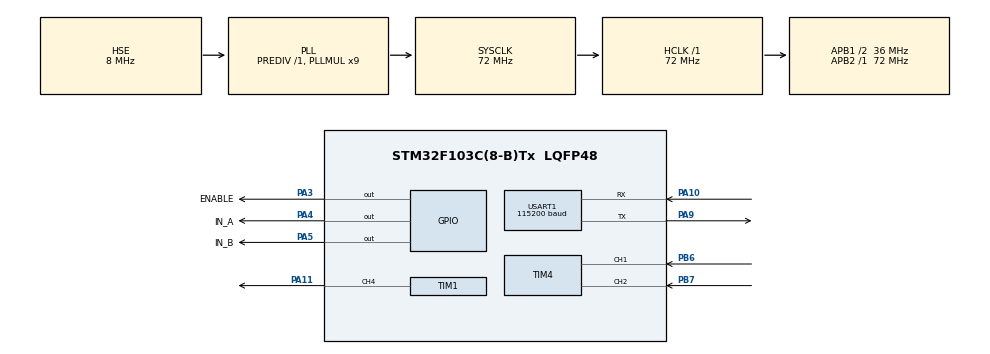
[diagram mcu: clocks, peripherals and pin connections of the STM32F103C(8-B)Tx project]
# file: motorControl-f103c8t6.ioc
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Mcu.Family=STM32F1
Mcu.Name=STM32F103C(8-B)Tx
Mcu.Package=LQFP48
NVIC.PriorityGroup=NVIC_PRIORITYGROUP_4
NVIC.TIM2_IRQn=true\:0\:0\:false\:false\:true\:true\:true\:true
PA10.Mode=Asynchronous
PA10.Signal=USART1_RX
PA11.Signal=S_TIM1_CH4
PA3.GPIO_Label=ENABLE
PA3.Signal=GPIO_Output
PA4.GPIO_Label=IN_A
PA4.Signal=GPIO_Output
PA5.GPIO_Label=IN_B
PA5.Signal=GPIO_Output
PA9.Mode=Asynchronous
PA9.Signal=USART1_TX
PB6.Signal=S_TIM4_CH1
PB7.Signal=S_TIM4_CH2
PD0-OSC_IN.Mode=HSE-External-Oscillator
PD0-OSC_IN.Signal=RCC_OSC_IN
PD1-OSC_OUT.Mode=HSE-External-Oscillator
PD1-OSC_OUT.Signal=RCC_OSC_OUT
ProjectManager.HeapSize=0x200
ProjectManager.StackSize=0x400
ProjectManager.TargetToolchain=STM32CubeIDE
RCC.AHBFreq_Value=72000000
RCC.APB1CLKDivider=RCC_HCLK_DIV2
RCC.APB1Freq_Value=36000000
RCC.APB1TimFreq_Value=72000000
RCC.APB2Freq_Value=72000000
RCC.APB2TimFreq_Value=72000000
RCC.HCLKFreq_Value=72000000
RCC.PLLMUL=RCC_PLL_MUL9
RCC.PLLSourceVirtual=RCC_PLLSOURCE_HSE
RCC.SYSCLKFreq_VALUE=72000000
RCC.SYSCLKSource=RCC_SYSCLKSOURCE_PLLCLK
RCC.USBFreq_Value=72000000
SH.S_TIM1_CH4.0=TIM1_CH4,PWM Generation4 CH4
SH.S_TIM4_CH1.0=TIM4_CH1,Encoder_Interface
SH.S_TIM4_CH2.0=TIM4_CH2,Encoder_Interface
TIM1.AutoReloadPreload=TIM_AUTORELOAD_PRELOAD_ENABLE
TIM1.Channel-PWM\ Generation4\ CH4=TIM_CHANNEL_4
TIM1.Period=699
TIM1.Prescaler=9
TIM2.AutoReloadPreload=TIM_AUTORELOAD_PRELOAD_ENABLE
TIM2.Period=720
TIM2.Prescaler=1000
USART1.BaudRate=115200
USART1.VirtualMode=VM_ASYNC
VP_TIM1_VS_ClockSourceINT.Mode=Internal
VP_TIM2_VS_ClockSourceINT.Mode=Internal
VP_TIM2_VS_ClockSourceITR.Mode=TriggerSource_ITR0
board=custom

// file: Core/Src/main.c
/* USER CODE BEGIN Header */
/**
  ******************************************************************************
  * @file           : main.c
  * @brief          : Main program body
  ******************************************************************************
  * @attention
  *
  * Copyright (c) 2023 STMicroelectronics.
  * All rights reserved.
  *
  * This software is licensed under terms that can be found in the LICENSE file
  * in the root directory of this software component.
  * If no LICENSE file comes with this software, it is provided AS-IS.
  *
  ******************************************************************************
  */
/* USER CODE END Header */
#include "main.h"

/* USER CODE BEGIN Includes */
#include <stdio.h>
#include "pwmPidControl.h"
/* USER CODE END Includes */

/* USER CODE BEGIN PD */
#define ONE_LAP 360 //360 degrees in one lap
#define PPR 1024 //encoder resolution in pulses per revolution
#define MOTOR_MAX_PULSES 70 //encoder pulses when motor @ 24V

#define MILISECONDS_TO_SECONDS 0.001 //conversion
#define RPM_TO_DEGREES_PER_SECOND 6 //conversion
#define HIGH_LEVEL_INPUT_TO_PWM_PERCENTAGE 1/127

//controller defines
#define MAX_PWM 100
#define MIN_PWM -100
#define KP 0.05
#define KI 10
#define KD 0

#define STEP_BUFFER_SIZE 10
#define TIMER_INIT_VALUE 30000 //this way, there is no need to deal with overflow

/* USER CODE END PD */

TIM_HandleTypeDef htim1;
TIM_HandleTypeDef htim2;
TIM_HandleTypeDef htim4;

UART_HandleTypeDef huart1;

/* USER CODE BEGIN PV */
int currentStep = 0; //stores encoder pulses
float speedInPulses = 0; //speed in pulses / s
float pastTime = 0; //time since application started TODO: remove!
uint32_t currentTick, lastTick = 0; //stores clock ticks

int stepBuffer[STEP_BUFFER_SIZE];
int i, j;
float auxSum = 0;

//CONTROL VARIABLES
Pid controller;
float duty = 0; //for floating point operations
float pulsesSetPoint = 0; //setPoint in pulses/s
/* USER CODE END PV */

void SystemClock_Config(void);
static void MX_GPIO_Init(void);
static void MX_TIM2_Init(void);
static void MX_USART1_UART_Init(void);
static void MX_TIM4_Init(void);
static void MX_TIM1_Init(void);
/* USER CODE BEGIN PFP */
//for data transmission using FTDI, requires USART 1 enabled
int _write(int fd, char* ptr, int len) {
    HAL_UART_Transmit(&huart1, (uint8_t *) ptr, len, HAL_MAX_DELAY);
    return len;
}

// driver logic config so motor goes clockwise
void motorClockWise();

// driver logic config so motor goes counter-clockwise
void motorAntiClockWise();

// driver logic config so motor stops
void motorStop();
/* USER CODE END PFP */

int main(void)
{

  /* MCU Configuration--------------------------------------------------------*/

  /* Reset of all peripherals, Initializes the Flash interface and the Systick. */
  HAL_Init();

  /* Configure the system clock */
  SystemClock_Config();

  /* Initialize all configured peripherals */
  MX_GPIO_Init();
  MX_TIM2_Init();
  MX_USART1_UART_Init();
  MX_TIM4_Init();
  MX_TIM1_Init();
  /* USER CODE BEGIN 2 */

  HAL_TIM_PWM_Start(&htim1, TIM_CHANNEL_4); //starts PWM timer
  HAL_TIM_Encoder_Start(&htim4, TIM_CHANNEL_ALL); //starts encoder timer

  pidInit(&controller, MIN_PWM, MAX_PWM, KP, KI, KD); //starts PID controller

  HAL_GPIO_WritePin(GPIOA, ENABLE_Pin, GPIO_PIN_SET); //enable ON (required)
  motorStop(); //motor initially stopped

  htim1.Instance->CCR4 = 0; //PWM timer inittialy 0
  TIM4->CNT = 0; //encoder timer inittialy 0

  for(i= 0; i< STEP_BUFFER_SIZE; i++) stepBuffer[i] = 0;
  i=0;

  TIM4->CNT = TIMER_INIT_VALUE;

  HAL_TIM_Base_Start_IT(&htim2); //starts interrupt timer
  /* USER CODE END 2 */

  /* Infinite loop */
  while (1)
  {

  }
}

void SystemClock_Config(void)
{
  RCC_OscInitTypeDef RCC_OscInitStruct = {0};
  RCC_ClkInitTypeDef RCC_ClkInitStruct = {0};

  /** Initializes the RCC Oscillators according to the specified parameters
  * in the RCC_OscInitTypeDef structure.
  */
  RCC_OscInitStruct.OscillatorType = RCC_OSCILLATORTYPE_HSE;
  RCC_OscInitStruct.HSEState = RCC_HSE_ON;
  RCC_OscInitStruct.HSEPredivValue = RCC_HSE_PREDIV_DIV1;
  RCC_OscInitStruct.HSIState = RCC_HSI_ON;
  RCC_OscInitStruct.PLL.PLLState = RCC_PLL_ON;
  RCC_OscInitStruct.PLL.PLLSource = RCC_PLLSOURCE_HSE;
  RCC_OscInitStruct.PLL.PLLMUL = RCC_PLL_MUL9;
  if (HAL_RCC_OscConfig(&RCC_OscInitStruct) != HAL_OK)
  {
    Error_Handler();
  }

  /** Initializes the CPU, AHB and APB buses clocks
  */
  RCC_ClkInitStruct.ClockType = RCC_CLOCKTYPE_HCLK|RCC_CLOCKTYPE_SYSCLK
                              |RCC_CLOCKTYPE_PCLK1|RCC_CLOCKTYPE_PCLK2;
  RCC_ClkInitStruct.SYSCLKSource = RCC_SYSCLKSOURCE_PLLCLK;
  RCC_ClkInitStruct.AHBCLKDivider = RCC_SYSCLK_DIV1;
  RCC_ClkInitStruct.APB1CLKDivider = RCC_HCLK_DIV2;
  RCC_ClkInitStruct.APB2CLKDivider = RCC_HCLK_DIV1;

  if (HAL_RCC_ClockConfig(&RCC_ClkInitStruct, FLASH_LATENCY_2) != HAL_OK)
  {
    Error_Handler();
  }
}

static void MX_TIM1_Init(void)
{

  TIM_ClockConfigTypeDef sClockSourceConfig = {0};
  TIM_MasterConfigTypeDef sMasterConfig = {0};
  TIM_OC_InitTypeDef sConfigOC = {0};
  TIM_BreakDeadTimeConfigTypeDef sBreakDeadTimeConfig = {0};

  htim1.Instance = TIM1;
  htim1.Init.Prescaler = 9;
  htim1.Init.CounterMode = TIM_COUNTERMODE_UP;
  htim1.Init.Period = 699;
  htim1.Init.ClockDivision = TIM_CLOCKDIVISION_DIV1;
  htim1.Init.RepetitionCounter = 0;
  htim1.Init.AutoReloadPreload = TIM_AUTORELOAD_PRELOAD_ENABLE;
  if (HAL_TIM_Base_Init(&htim1) != HAL_OK)
  {
    Error_Handler();
  }
  sClockSourceConfig.ClockSource = TIM_CLOCKSOURCE_INTERNAL;
  if (HAL_TIM_ConfigClockSource(&htim1, &sClockSourceConfig) != HAL_OK)
  {
    Error_Handler();
  }
  if (HAL_TIM_PWM_Init(&htim1) != HAL_OK)
  {
    Error_Handler();
  }
  sMasterConfig.MasterOutputTrigger = TIM_TRGO_RESET;
  sMasterConfig.MasterSlaveMode = TIM_MASTERSLAVEMODE_DISABLE;
  if (HAL_TIMEx_MasterConfigSynchronization(&htim1, &sMasterConfig) != HAL_OK)
  {
    Error_Handler();
  }
  sConfigOC.OCMode = TIM_OCMODE_PWM1;
  sConfigOC.Pulse = 0;
  sConfigOC.OCPolarity = TIM_OCPOLARITY_HIGH;
  sConfigOC.OCFastMode = TIM_OCFAST_DISABLE;
  sConfigOC.OCIdleState = TIM_OCIDLESTATE_RESET;
  sConfigOC.OCNIdleState = TIM_OCNIDLESTATE_RESET;
  if (HAL_TIM_PWM_ConfigChannel(&htim1, &sConfigOC, TIM_CHANNEL_4) != HAL_OK)
  {
    Error_Handler();
  }
  sBreakDeadTimeConfig.OffStateRunMode = TIM_OSSR_DISABLE;
  sBreakDeadTimeConfig.OffStateIDLEMode = TIM_OSSI_DISABLE;
  sBreakDeadTimeConfig.LockLevel = TIM_LOCKLEVEL_OFF;
  sBreakDeadTimeConfig.DeadTime = 0;
  sBreakDeadTimeConfig.BreakState = TIM_BREAK_DISABLE;
  sBreakDeadTimeConfig.BreakPolarity = TIM_BREAKPOLARITY_HIGH;
  sBreakDeadTimeConfig.AutomaticOutput = TIM_AUTOMATICOUTPUT_DISABLE;
  if (HAL_TIMEx_ConfigBreakDeadTime(&htim1, &sBreakDeadTimeConfig) != HAL_OK)
  {
    Error_Handler();
  }
  HAL_TIM_MspPostInit(&htim1);

}

static void MX_TIM2_Init(void)
{

  TIM_ClockConfigTypeDef sClockSourceConfig = {0};
  TIM_SlaveConfigTypeDef sSlaveConfig = {0};
  TIM_MasterConfigTypeDef sMasterConfig = {0};

  htim2.Instance = TIM2;
  htim2.Init.Prescaler = 1000;
  htim2.Init.CounterMode = TIM_COUNTERMODE_UP;
  htim2.Init.Period = 720;
  htim2.Init.ClockDivision = TIM_CLOCKDIVISION_DIV1;
  htim2.Init.AutoReloadPreload = TIM_AUTORELOAD_PRELOAD_ENABLE;
  if (HAL_TIM_Base_Init(&htim2) != HAL_OK)
  {
    Error_Handler();
  }
  sClockSourceConfig.ClockSource = TIM_CLOCKSOURCE_INTERNAL;
  if (HAL_TIM_ConfigClockSource(&htim2, &sClockSourceConfig) != HAL_OK)
  {
    Error_Handler();
  }
  sSlaveConfig.SlaveMode = TIM_SLAVEMODE_DISABLE;
  sSlaveConfig.InputTrigger = TIM_TS_ITR0;
  if (HAL_TIM_SlaveConfigSynchro(&htim2, &sSlaveConfig) != HAL_OK)
  {
    Error_Handler();
  }
  sMasterConfig.MasterOutputTrigger = TIM_TRGO_RESET;
  sMasterConfig.MasterSlaveMode = TIM_MASTERSLAVEMODE_DISABLE;
  if (HAL_TIMEx_MasterConfigSynchronization(&htim2, &sMasterConfig) != HAL_OK)
  {
    Error_Handler();
  }

}

static void MX_TIM4_Init(void)
{

  TIM_Encoder_InitTypeDef sConfig = {0};
  TIM_MasterConfigTypeDef sMasterConfig = {0};

  htim4.Instance = TIM4;
  htim4.Init.Prescaler = 0;
  htim4.Init.CounterMode = TIM_COUNTERMODE_UP;
  htim4.Init.Period = 65535;
  htim4.Init.ClockDivision = TIM_CLOCKDIVISION_DIV1;
  htim4.Init.AutoReloadPreload = TIM_AUTORELOAD_PRELOAD_DISABLE;
  sConfig.EncoderMode = TIM_ENCODERMODE_TI1;
  sConfig.IC1Polarity = TIM_ICPOLARITY_RISING;
  sConfig.IC1Selection = TIM_ICSELECTION_DIRECTTI;
  sConfig.IC1Prescaler = TIM_ICPSC_DIV1;
  sConfig.IC1Filter = 0;
  sConfig.IC2Polarity = TIM_ICPOLARITY_RISING;
  sConfig.IC2Selection = TIM_ICSELECTION_DIRECTTI;
  sConfig.IC2Prescaler = TIM_ICPSC_DIV1;
  sConfig.IC2Filter = 0;
  if (HAL_TIM_Encoder_Init(&htim4, &sConfig) != HAL_OK)
  {
    Error_Handler();
  }
  sMasterConfig.MasterOutputTrigger = TIM_TRGO_RESET;
  sMasterConfig.MasterSlaveMode = TIM_MASTERSLAVEMODE_DISABLE;
  if (HAL_TIMEx_MasterConfigSynchronization(&htim4, &sMasterConfig) != HAL_OK)
  {
    Error_Handler();
  }

}

static void MX_USART1_UART_Init(void)
{

  huart1.Instance = USART1;
  huart1.Init.BaudRate = 115200;
  huart1.Init.WordLength = UART_WORDLENGTH_8B;
  huart1.Init.StopBits = UART_STOPBITS_1;
  huart1.Init.Parity = UART_PARITY_NONE;
  huart1.Init.Mode = UART_MODE_TX_RX;
  huart1.Init.HwFlowCtl = UART_HWCONTROL_NONE;
  huart1.Init.OverSampling = UART_OVERSAMPLING_16;
  if (HAL_UART_Init(&huart1) != HAL_OK)
  {
    Error_Handler();
  }

}

static void MX_GPIO_Init(void)
{
  GPIO_InitTypeDef GPIO_InitStruct = {0};

  /* GPIO Ports Clock Enable */
  __HAL_RCC_GPIOD_CLK_ENABLE();
  __HAL_RCC_GPIOA_CLK_ENABLE();
  __HAL_RCC_GPIOB_CLK_ENABLE();

  /*Configure GPIO pin Output Level */
  HAL_GPIO_WritePin(GPIOA, ENABLE_Pin|IN_A_Pin|IN_B_Pin, GPIO_PIN_RESET);

  /*Configure GPIO pins : ENABLE_Pin IN_A_Pin IN_B_Pin */
  GPIO_InitStruct.Pin = ENABLE_Pin|IN_A_Pin|IN_B_Pin;
  GPIO_InitStruct.Mode = GPIO_MODE_OUTPUT_PP;
  GPIO_InitStruct.Pull = GPIO_NOPULL;
  GPIO_InitStruct.Speed = GPIO_SPEED_FREQ_LOW;
  HAL_GPIO_Init(GPIOA, &GPIO_InitStruct);

}

/* USER CODE BEGIN 4 */

//control interrupt
void HAL_TIM_PeriodElapsedCallback(TIM_HandleTypeDef* htim){
	if(htim == &htim2){

		currentTick = HAL_GetTick(); //para contar o tempo decorrido (gerar gráfico)

		currentStep = TIM4->CNT - TIMER_INIT_VALUE;
		TIM4->CNT = TIMER_INIT_VALUE;

		pastTime += (float)(currentTick - lastTick) / 1000;

		/*Testes de velocidade*/
		if(pastTime > 25) pulsesSetPoint = 0;
		else if(pastTime > 20) pulsesSetPoint = -700;
		else if(pastTime > 15) pulsesSetPoint = 0;
		else if(pastTime > 10) pulsesSetPoint = -800;
		else if(pastTime > 5) pulsesSetPoint = 700;

		//dealing with different kinds of movement
		if(pulsesSetPoint > 0) motorClockWise();

		//antiClockWise movement TODO: TESTES AQUI!
		else if(pulsesSetPoint < 0) motorAntiClockWise();
		//no movement
		else {
			motorStop();
			TIM1->CCR4 = 0; //0% dutyCycle
			duty = 0; //avoids biasing next motor speed
		}

		if(i >= 10) i=0; //creates queue structure in the buffer

		//CONTROLLER
		stepBuffer[i] = currentStep;
		i++;

		for(j=0; j< STEP_BUFFER_SIZE; j++) auxSum += stepBuffer[j];
		auxSum /= STEP_BUFFER_SIZE;

		speedInPulses = auxSum * 100; // current speed in pulses / s
		duty += computePwmValue(pulsesSetPoint, speedInPulses, &controller); //gets pwm variation in floating point

		//considers CCR limits
		if(duty > 699) duty = 699;
		else if(duty < 0) duty = 0;

		//CCR in 699 -> DUTY CYCLE 100%
		//CCR in 0 -> DUTY CYCLE 0%
		//configurable in .ioc
		TIM1->CCR4 = duty; //updates pwm

//		debug printing
//		printf("currentStep: %d setPoint: %f\r\n", currentStep, pulsesSetPoint); //encoder step and setPoint
//		printf("PWM: %ld\r\n", TIM1->CCR4); //pwm register
		printf("%f %f\n\r", speedInPulses, pastTime); //speed and time formatted for python script (graphic)
//		printf("%ld\r\n", currentTick - lastTick); //time between interrupts
//		printf("%f \n\r", auxSum);

		//updates for next iteration
		auxSum = 0;
		lastTick = currentTick;
	}
}

/**
 * IN A: ON
 * IN B: OFF
 * */
void motorClockWise(){
	HAL_GPIO_WritePin(GPIOA, IN_A_Pin, GPIO_PIN_SET);
	HAL_GPIO_WritePin(GPIOA, IN_B_Pin, GPIO_PIN_RESET);
}

/**
 * IN A: OFF
 * IN B: ON
 * */
void motorAntiClockWise(){
	HAL_GPIO_WritePin(GPIOA, IN_A_Pin, GPIO_PIN_RESET);
	HAL_GPIO_WritePin(GPIOA, IN_B_Pin, GPIO_PIN_SET);
}

/**
 * IN A: OFF
 * IN B: OFF
 * */
//brakes to GND
void motorStop(){
	HAL_GPIO_WritePin(GPIOA, IN_A_Pin, GPIO_PIN_RESET);
	HAL_GPIO_WritePin(GPIOA, IN_B_Pin, GPIO_PIN_RESET);
}
/* USER CODE END 4 */

void Error_Handler(void)
{
  __disable_irq();
  while (1)
  {
  }
}
